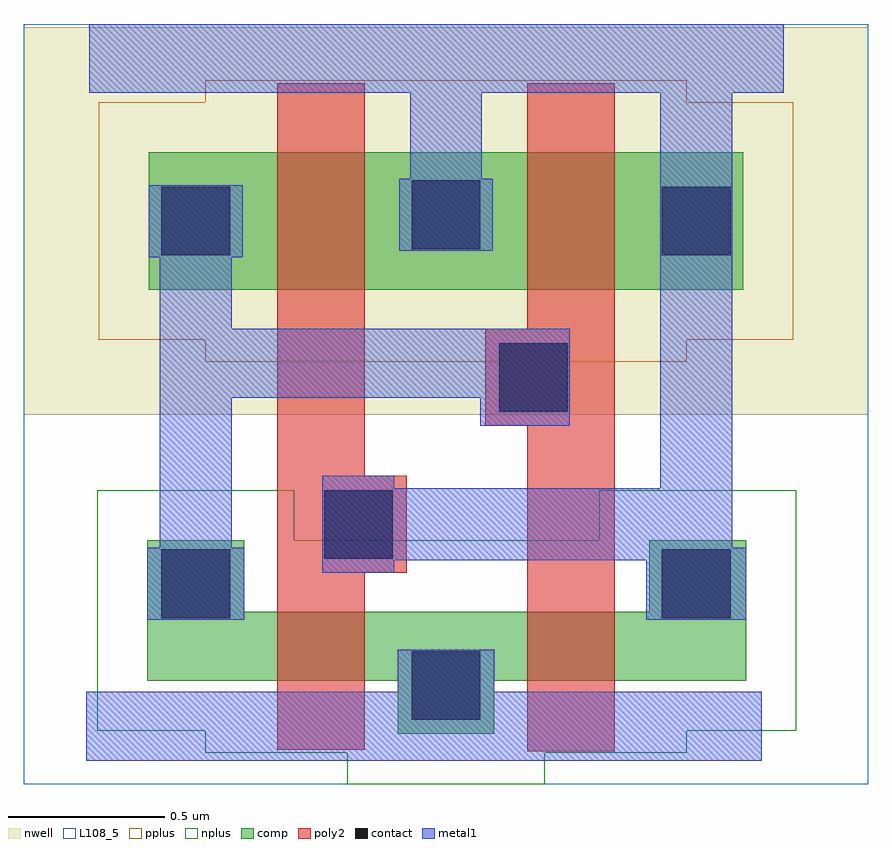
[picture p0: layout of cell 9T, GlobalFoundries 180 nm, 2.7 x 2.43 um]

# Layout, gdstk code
import gdstk
lib = gdstk.Library(unit=1e-6, precision=1e-09)
def R(c, l, rs):  # rectangles x0, y0, x1, y1
    for r in rs: c.add(gdstk.rectangle(r[:2], r[2:], *l))
nwell = (21, 0)
comp = (22, 0)
poly2 = (30, 0)
pplus = (31, 0)
nplus = (32, 0)
contact = (33, 0)
metal1 = (34, 0)
L108_5 = (108, 5)

c_9t = lib.new_cell('9T')
R(c_9t, nwell, [(-0.495,-0.39,2.205,0.85)])
R(c_9t, comp, [(0.7,-1.41,1.01,-1.24), (-0.1,-1.24,1.815,-1.02), (-0.1,-1.02,0.21,-0.79), (1.505,-1.02,1.815,-0.79), (-0.095,0.01,1.805,0.45)])
R(c_9t, poly2, [(1.115,-1.465,1.395,-0.425), (0.315,-1.46,0.595,-0.895), (0.315,-0.895,0.73,-0.585), (0.315,-0.585,0.595,0.67), (0.98,-0.425,1.395,-0.115), (1.115,-0.115,1.395,0.67)])
R(c_9t, pplus, [(0.085,-0.22,1.625,-0.15), (-0.255,-0.15,1.965,0.61), (0.085,0.61,1.625,0.68)])
R(c_9t, nplus, [(0.54,-1.57,1.17,-1.47), (0.085,-1.47,1.625,-1.4), (-0.26,-1.4,1.975,-0.79), (-0.26,-0.79,0.37,-0.63), (1.345,-0.79,1.975,-0.63)])
R(c_9t, contact, [(0.745,-1.365,0.965,-1.145), (-0.055,-1.04,0.165,-0.82), (1.545,-1.04,1.765,-0.82), (0.465,-0.85,0.685,-0.63), (1.025,-0.38,1.245,-0.16), (-0.055,0.12,0.165,0.34), (1.545,0.12,1.765,0.34), (0.745,0.14,0.965,0.36)])
R(c_9t, metal1, [(-0.295,-1.495,1.865,-1.275), (0.7,-1.275,1.01,-1.14), (-0.1,-1.045,0.21,-0.815), (1.495,-1.045,1.815,-0.855), (0.46,-0.895,0.69,-0.855), (0.46,-0.855,1.815,-0.815), (-0.06,-0.815,0.17,-0.335), (0.46,-0.815,1.77,-0.625), (0.46,-0.625,0.69,-0.585), (1.54,-0.625,1.77,0.64), (0.965,-0.425,1.25,-0.335), (-0.06,-0.335,1.25,-0.115), (-0.06,-0.115,0.17,0.115), (-0.095,0.115,0.205,0.345), (0.705,0.135,1.005,0.365), (0.74,0.365,0.97,0.64), (-0.285,0.64,1.935,0.86)])
R(c_9t, L108_5, [(-0.495,-1.57,2.205,0.86)])

lib.write_gds('9T.gds')
